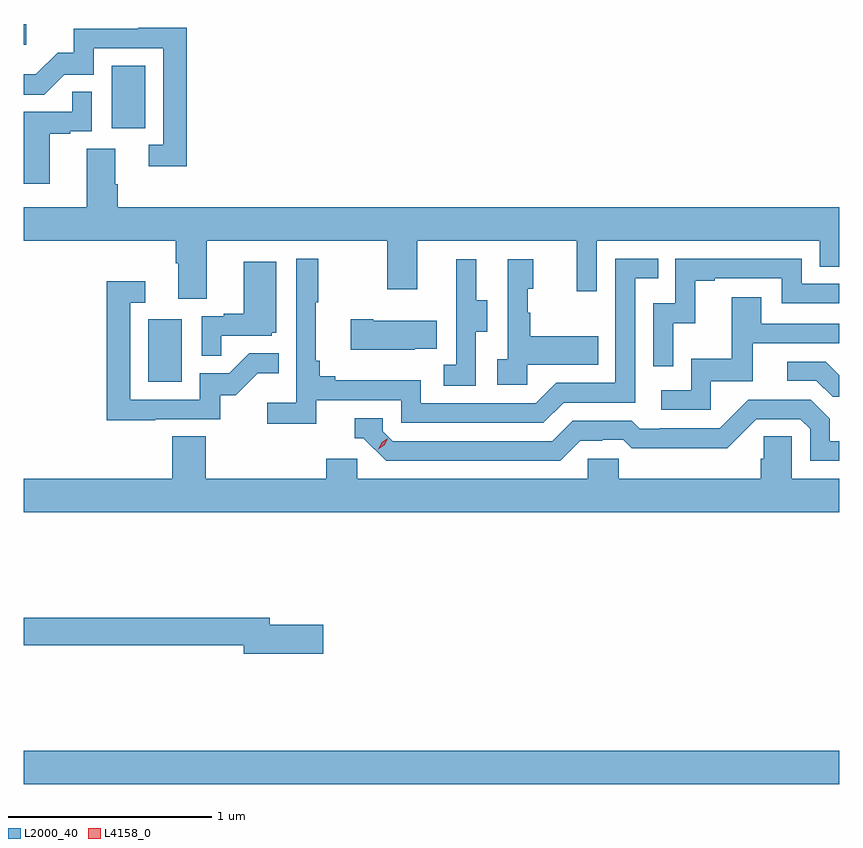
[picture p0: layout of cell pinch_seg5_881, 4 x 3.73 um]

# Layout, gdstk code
import gdstk
lib = gdstk.Library(unit=1e-6, precision=1e-09)
def R(c, l, rs):  # rectangles x0, y0, x1, y1
    for r in rs: c.add(gdstk.rectangle(r[:2], r[2:], *l))
def P(c, l, *ps):  # polygons
    for p in ps: c.add(gdstk.Polygon(p, *l))
L2000_40 = (2000, 40)
L4158_0 = (4158, 0)

pinch_seg5_881 = lib.new_cell('pinch_seg5_881')
R(pinch_seg5_881, L2000_40, [(864.008,880.736,868.008,880.9), (864.62,882.708,864.784,883.015), (864.44,883.95,864.604,884.257), (864.008,884.36,864.022,884.462)])
P(pinch_seg5_881, L2000_40, [(864.809,884.444),(864.571,884.444),(864.571,884.439),(864.253,884.439),(864.253,884.322),(864.176,884.322),(864.069,884.215),(864.008,884.215),(864.008,884.116),(864.109,884.116),(864.207,884.214),(864.351,884.214),(864.351,884.343),(864.693,884.343),(864.693,883.869),(864.621,883.869),(864.621,883.764),(864.809,883.764)],
  [(864.136,883.923),(864.236,883.923),(864.236,883.935),(864.342,883.935),(864.342,884.129),(864.247,884.129),(864.247,884.031),(864.008,884.031),(864.008,883.68),(864.136,883.68)],
  [(864.907,883.4),(865.792,883.4),(865.792,883.161),(865.939,883.161),(865.939,883.4),(866.72,883.4),(866.72,883.152),(866.817,883.152),(866.817,883.4),(867.912,883.4),(867.912,883.273),(868.008,883.273),(868.008,883.564),(864.47,883.564),(864.47,883.676),(864.457,883.676),(864.457,883.85),(864.317,883.85),(864.317,883.564),(864.008,883.564),(864.008,883.4),(864.755,883.4),(864.755,883.288),(864.767,883.288),(864.767,883.114),(864.907,883.114)],
  [(865.442,882.618),(865.86,882.618),(865.86,882.507),(866.557,882.507),(866.656,882.606),(867.006,882.606),(867.006,883.215),(867.119,883.215),(867.119,883.311),(866.91,883.311),(866.91,882.702),(866.619,882.702),(866.52,882.603),(865.956,882.603),(865.956,882.715),(865.537,882.715),(865.537,882.734),(865.46,882.734),(865.46,882.811),(865.441,882.811),(865.441,883.099),(865.453,883.099),(865.453,883.312),(865.344,883.312),(865.344,882.604),(865.203,882.604),(865.203,882.502),(865.442,882.502)],
  [(867.192,882.995),(867.302,882.995),(867.302,883.203),(867.397,883.203),(867.397,883.215),(867.726,883.215),(867.726,883.092),(868.008,883.092),(868.008,883.188),(867.822,883.188),(867.822,883.311),(867.204,883.311),(867.204,883.092),(867.096,883.092),(867.096,882.783),(867.192,882.783)],
  [(866.478,882.791),(866.825,882.791),(866.825,882.931),(866.491,882.931),(866.491,883.046),(866.481,883.046),(866.481,883.164),(866.506,883.164),(866.506,883.309),(866.382,883.309),(866.382,882.818),(866.331,882.818),(866.331,882.693),(866.478,882.693)],
  [(866.226,882.952),(866.281,882.952),(866.281,883.107),(866.227,883.107),(866.227,883.309),(866.129,883.309),(866.129,883.095),(866.13,883.095),(866.13,882.791),(866.067,882.791),(866.067,882.688),(866.226,882.688)],
  [(864.977,882.933),(865.224,882.933),(865.224,882.948),(865.246,882.948),(865.246,883.297),(865.088,883.297),(865.088,883.042),(864.989,883.042),(864.989,883.029),(864.882,883.029),(864.882,882.835),(864.977,882.835)],
  [(864.653,882.525),(864.972,882.525),(864.972,882.642),(865.048,882.642),(865.155,882.749),(865.259,882.749),(865.259,882.848),(865.115,882.848),(865.017,882.75),(864.873,882.75),(864.873,882.621),(864.531,882.621),(864.531,883.095),(864.604,883.095),(864.604,883.201),(864.415,883.201),(864.415,882.52),(864.653,882.52)],
  [(867.378,882.711),(867.583,882.711),(867.583,882.897),(868.008,882.897),(868.008,882.993),(867.625,882.993),(867.625,883.123),(867.481,883.123),(867.481,882.82),(867.282,882.82),(867.282,882.666),(867.135,882.666),(867.135,882.57),(867.378,882.57)],
  [(865.925,882.869),(866.033,882.869),(866.033,883.006),(865.723,883.006),(865.723,883.014),(865.611,883.014),(865.611,882.866),(865.925,882.866)],
  [(868.008,882.739),(867.94,882.807),(867.753,882.807),(867.753,882.714),(867.894,882.714),(867.974,882.634),(868.008,882.634)],
  [(866.737,882.42),(866.844,882.42),(866.844,882.423),(866.947,882.423),(866.989,882.381),(867.222,882.381),(867.222,882.383),(867.458,882.383),(867.6,882.525),(867.816,882.525),(867.864,882.477),(867.864,882.321),(868.008,882.321),(868.008,882.417),(867.961,882.417),(867.961,882.527),(867.867,882.621),(867.561,882.621),(867.42,882.48),(867.127,882.48),(867.127,882.477),(867.028,882.477),(866.989,882.516),(866.7,882.516),(866.601,882.417),(865.818,882.417),(865.77,882.465),(865.77,882.528),(865.631,882.528),(865.631,882.432),(865.674,882.432),(865.785,882.321),(866.638,882.321)],
  [(868.008,882.232),(867.774,882.232),(867.774,882.44),(867.637,882.44),(867.637,882.33),(867.623,882.33),(867.623,882.232),(866.925,882.232),(866.925,882.33),(866.775,882.33),(866.775,882.232),(865.644,882.232),(865.644,882.33),(865.493,882.33),(865.493,882.232),(864.902,882.232),(864.902,882.44),(864.737,882.44),(864.737,882.232),(864.008,882.232),(864.008,882.068),(868.008,882.068)],
  [(865.477,881.516),(865.216,881.516),(865.216,881.552),(864.008,881.552),(864.008,881.416),(865.088,881.416),(865.088,881.374),(865.477,881.374)])
P(pinch_seg5_881, L4158_0, [(865.748,882.378),(865.748,882.378),(865.764,882.411),(865.794,882.431),(865.794,882.431),(865.794,882.43),(865.779,882.398),(865.748,882.378)])

lib.write_gds('pinch_seg5_881.gds')
